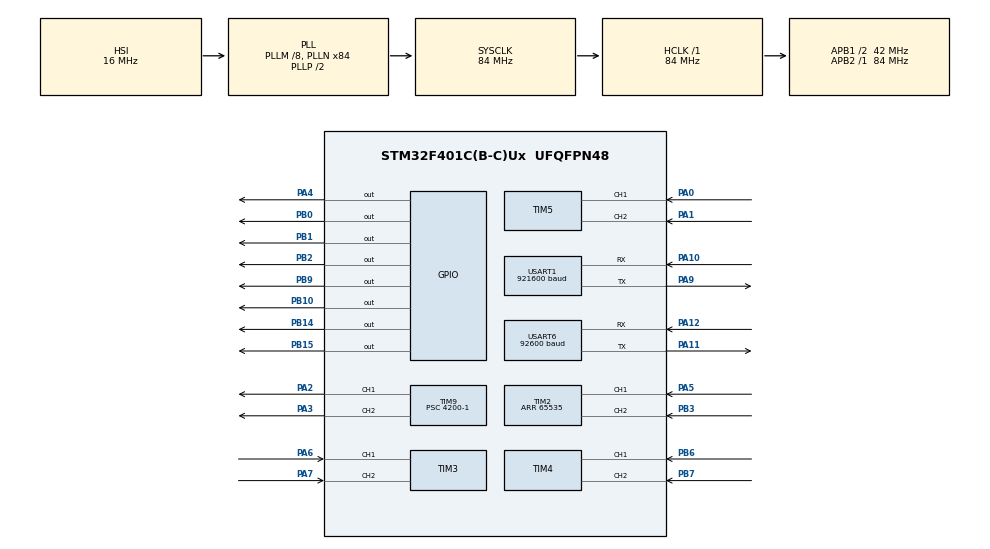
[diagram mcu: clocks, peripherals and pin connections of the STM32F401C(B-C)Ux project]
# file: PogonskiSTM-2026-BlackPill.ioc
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Dma.Request0=USART6_RX
Dma.Request1=USART1_RX
Dma.Request2=USART1_TX
Dma.USART1_RX.1.Direction=DMA_PERIPH_TO_MEMORY
Dma.USART1_RX.1.FIFOMode=DMA_FIFOMODE_DISABLE
Dma.USART1_RX.1.Instance=DMA2_Stream2
Dma.USART1_RX.1.MemDataAlignment=DMA_MDATAALIGN_BYTE
Dma.USART1_RX.1.MemInc=DMA_MINC_ENABLE
Dma.USART1_RX.1.Mode=DMA_CIRCULAR
Dma.USART1_RX.1.PeriphDataAlignment=DMA_PDATAALIGN_BYTE
Dma.USART1_RX.1.PeriphInc=DMA_PINC_DISABLE
Dma.USART1_RX.1.Priority=DMA_PRIORITY_LOW
Dma.USART1_TX.2.Direction=DMA_MEMORY_TO_PERIPH
Dma.USART1_TX.2.FIFOMode=DMA_FIFOMODE_DISABLE
Dma.USART1_TX.2.Instance=DMA2_Stream7
Dma.USART1_TX.2.MemDataAlignment=DMA_MDATAALIGN_BYTE
Dma.USART1_TX.2.MemInc=DMA_MINC_ENABLE
Dma.USART1_TX.2.Mode=DMA_NORMAL
Dma.USART1_TX.2.PeriphDataAlignment=DMA_PDATAALIGN_BYTE
Dma.USART1_TX.2.PeriphInc=DMA_PINC_DISABLE
Dma.USART1_TX.2.Priority=DMA_PRIORITY_LOW
Dma.USART6_RX.0.Direction=DMA_PERIPH_TO_MEMORY
Dma.USART6_RX.0.FIFOMode=DMA_FIFOMODE_DISABLE
Dma.USART6_RX.0.Instance=DMA2_Stream1
Dma.USART6_RX.0.MemDataAlignment=DMA_MDATAALIGN_BYTE
Dma.USART6_RX.0.MemInc=DMA_MINC_ENABLE
Dma.USART6_RX.0.Mode=DMA_CIRCULAR
Dma.USART6_RX.0.PeriphDataAlignment=DMA_PDATAALIGN_BYTE
Dma.USART6_RX.0.PeriphInc=DMA_PINC_DISABLE
Dma.USART6_RX.0.Priority=DMA_PRIORITY_LOW
Mcu.Family=STM32F4
Mcu.Name=STM32F401C(B-C)Ux
Mcu.Package=UFQFPN48
NVIC.DMA2_Stream1_IRQn=true\:0\:0\:false\:false\:true\:false\:true\:true
NVIC.DMA2_Stream2_IRQn=true\:0\:0\:false\:false\:true\:false\:true\:true
NVIC.DMA2_Stream7_IRQn=true\:0\:0\:false\:false\:true\:false\:true\:true
NVIC.PriorityGroup=NVIC_PRIORITYGROUP_4
NVIC.TIM1_UP_TIM10_IRQn=true\:0\:0\:false\:false\:true\:true\:true\:true
PA0-WKUP.Signal=S_TIM5_CH1
PA1.Signal=S_TIM5_CH2
PA10.Mode=Asynchronous
PA10.Signal=USART1_RX
PA11.Mode=Asynchronous
PA11.Signal=USART6_TX
PA12.Mode=Asynchronous
PA12.Signal=USART6_RX
PA2.Signal=S_TIM9_CH1
PA3.Signal=S_TIM9_CH2
PA4.Signal=GPIO_Output
PA5.Signal=S_TIM2_CH1_ETR
PA6.Signal=S_TIM3_CH1
PA7.Signal=S_TIM3_CH2
PA9.Mode=Asynchronous
PA9.Signal=USART1_TX
PB0.Signal=GPIO_Output
PB1.Signal=GPIO_Output
PB10.Signal=GPIO_Output
PB14.Signal=GPIO_Output
PB15.Signal=GPIO_Output
PB2.Signal=GPIO_Output
PB3.Signal=S_TIM2_CH2
PB6.Signal=S_TIM4_CH1
PB7.Signal=S_TIM4_CH2
PB9.Signal=GPIO_Output
PH0\ -\ OSC_IN.Mode=HSE-External-Oscillator
PH0\ -\ OSC_IN.Signal=RCC_OSC_IN
PH1\ -\ OSC_OUT.Mode=HSE-External-Oscillator
PH1\ -\ OSC_OUT.Signal=RCC_OSC_OUT
ProjectManager.HeapSize=0x200
ProjectManager.StackSize=0x400
ProjectManager.TargetToolchain=STM32CubeIDE
RCC.48MHZClocksFreq_Value=42000000
RCC.AHBFreq_Value=84000000
RCC.APB1CLKDivider=RCC_HCLK_DIV2
RCC.APB1Freq_Value=42000000
RCC.APB1TimFreq_Value=84000000
RCC.APB2Freq_Value=84000000
RCC.APB2TimFreq_Value=84000000
RCC.CortexFreq_Value=84000000
RCC.HCLKFreq_Value=84000000
RCC.HSE_VALUE=25000000
RCC.HSI_VALUE=16000000
RCC.LSE_VALUE=32768
RCC.PLLM=8
RCC.PLLN=84
RCC.SYSCLKFreq_VALUE=84000000
RCC.SYSCLKSource=RCC_SYSCLKSOURCE_PLLCLK
RCC.VCOOutputFreq_Value=168000000
SH.S_TIM2_CH1_ETR.0=TIM2_CH1,Encoder_Interface
SH.S_TIM2_CH2.0=TIM2_CH2,Encoder_Interface
SH.S_TIM3_CH1.0=TIM3_CH1,Encoder_Interface
SH.S_TIM3_CH2.0=TIM3_CH2,Encoder_Interface
SH.S_TIM4_CH1.0=TIM4_CH1,Encoder_Interface
SH.S_TIM4_CH2.0=TIM4_CH2,Encoder_Interface
SH.S_TIM5_CH1.0=TIM5_CH1,Encoder_Interface
SH.S_TIM5_CH2.0=TIM5_CH2,Encoder_Interface
SH.S_TIM9_CH1.0=TIM9_CH1,PWM Generation1 CH1
SH.S_TIM9_CH2.0=TIM9_CH2,PWM Generation2 CH2
TIM10.Period=1000-1
TIM10.Prescaler=84-1
TIM2.IC1Polarity=TIM_ICPOLARITY_FALLING
TIM2.IC2Polarity=TIM_ICPOLARITY_RISING
TIM2.Period=65535
TIM4.IC1Polarity=TIM_ICPOLARITY_FALLING
TIM9.Channel-PWM\ Generation1\ CH1=TIM_CHANNEL_1
TIM9.Channel-PWM\ Generation2\ CH2=TIM_CHANNEL_2
TIM9.Prescaler=4200-1
USART1.BaudRate=921600
USART1.VirtualMode=VM_ASYNC
USART6.BaudRate=92600
USART6.VirtualMode=VM_ASYNC
VP_TIM10_VS_ClockSourceINT.Mode=Enable_Timer
VP_TIM9_VS_ClockSourceINT.Mode=Internal
board=custom

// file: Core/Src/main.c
/* USER CODE BEGIN Header */
/**
 ******************************************************************************
 * @file           : main.c
 * @brief          : Main program body
 ******************************************************************************
 * @attention
 *
 * Copyright (c) 2026 STMicroelectronics.
 * All rights reserved.
 *
 * This software is licensed under terms that can be found in the LICENSE file
 * in the root directory of this software component.
 * If no LICENSE file comes with this software, it is provided AS-IS.
 *
 ******************************************************************************
 */
/* USER CODE END Header */
#include "main.h"
#include "dma.h"
#include "tim.h"
#include "usart.h"
#include "gpio.h"

/* USER CODE BEGIN PV */
goal_type rot_goal, xy_goal;
goal_type* rx_goal_ptr;
int16_t main_fsm_state = 0;
int8_t dir_dbg=0;

/* USER CODE END PV */

void SystemClock_Config(void);

int main(void)
{

  /* MCU Configuration--------------------------------------------------------*/

  /* Reset of all peripherals, Initializes the Flash interface and the Systick. */
  HAL_Init();

  /* Configure the system clock */
  SystemClock_Config();

  /* Initialize all configured peripherals */
  MX_GPIO_Init();
  MX_DMA_Init();
  MX_TIM2_Init();
  MX_TIM3_Init();
  MX_TIM4_Init();
  MX_TIM5_Init();
  MX_TIM9_Init();
  MX_TIM10_Init();
  MX_USART1_UART_Init();
  MX_USART6_UART_Init();
  /* USER CODE BEGIN 2 */
	comm_init();
	time_start();
	enc_init();
	pwm_init();
	odometry_init();
	move_init();
  /* USER CODE END 2 */

  /* Infinite loop */
  /* USER CODE BEGIN WHILE */

	rot_goal.type = -1;
	rot_goal.phi = 3.14;
	rot_goal.w_max = 3.14;
	rot_goal.angle_tolerance_percentage = 1.0;
	rot_goal.start_coeff_w = 1.0;
	rot_goal.stop_coeff_w = 1.0;
//	move_goal(&rot_goal);
	xy_goal.type = 1;
	xy_goal.x = 0.5;
	xy_goal.y = 0.5;
	xy_goal.direction = 1;
	xy_goal.v_max = 1.0;
	xy_goal.w_max = 6.0;
	xy_goal.distance_tolerance_percentage = 1.0;
	xy_goal.angle_tolerance_percentage = 1.0;
	xy_goal.start_coeff_v = 1.0;
	xy_goal.start_coeff_w = 1.0;
	xy_goal.stop_coeff_v = 1.0;
	xy_goal.stop_coeff_w = 1.0;
//	move_goal(&xy_goal);

	while (1) {
    /* USER CODE END WHILE */

    /* USER CODE BEGIN 3 */
//		set_motor_l_dir(dir_dbg);
//		set_motor_r_dir(dir_dbg);
		switch (main_fsm_state) {
		case 0:
			rx_goal_ptr = get_rx_goal();
//			if (rx_goal_ptr->status < 0)
//				main_fsm_state = -1;
//			else
				move_goal(rx_goal_ptr);
			break;
		case -1:
			break;
		}
	}
  /* USER CODE END 3 */
}

void SystemClock_Config(void)
{
  RCC_OscInitTypeDef RCC_OscInitStruct = {0};
  RCC_ClkInitTypeDef RCC_ClkInitStruct = {0};

  /** Configure the main internal regulator output voltage
  */
  __HAL_RCC_PWR_CLK_ENABLE();
  __HAL_PWR_VOLTAGESCALING_CONFIG(PWR_REGULATOR_VOLTAGE_SCALE2);

  /** Initializes the RCC Oscillators according to the specified parameters
  * in the RCC_OscInitTypeDef structure.
  */
  RCC_OscInitStruct.OscillatorType = RCC_OSCILLATORTYPE_HSI;
  RCC_OscInitStruct.HSIState = RCC_HSI_ON;
  RCC_OscInitStruct.HSICalibrationValue = RCC_HSICALIBRATION_DEFAULT;
  RCC_OscInitStruct.PLL.PLLState = RCC_PLL_ON;
  RCC_OscInitStruct.PLL.PLLSource = RCC_PLLSOURCE_HSI;
  RCC_OscInitStruct.PLL.PLLM = 8;
  RCC_OscInitStruct.PLL.PLLN = 84;
  RCC_OscInitStruct.PLL.PLLP = RCC_PLLP_DIV2;
  RCC_OscInitStruct.PLL.PLLQ = 4;
  if (HAL_RCC_OscConfig(&RCC_OscInitStruct) != HAL_OK)
  {
    Error_Handler();
  }

  /** Initializes the CPU, AHB and APB buses clocks
  */
  RCC_ClkInitStruct.ClockType = RCC_CLOCKTYPE_HCLK|RCC_CLOCKTYPE_SYSCLK
                              |RCC_CLOCKTYPE_PCLK1|RCC_CLOCKTYPE_PCLK2;
  RCC_ClkInitStruct.SYSCLKSource = RCC_SYSCLKSOURCE_PLLCLK;
  RCC_ClkInitStruct.AHBCLKDivider = RCC_SYSCLK_DIV1;
  RCC_ClkInitStruct.APB1CLKDivider = RCC_HCLK_DIV2;
  RCC_ClkInitStruct.APB2CLKDivider = RCC_HCLK_DIV1;

  if (HAL_RCC_ClockConfig(&RCC_ClkInitStruct, FLASH_LATENCY_2) != HAL_OK)
  {
    Error_Handler();
  }
}

void Error_Handler(void)
{
	__disable_irq();
	while (1) {
	}
}
